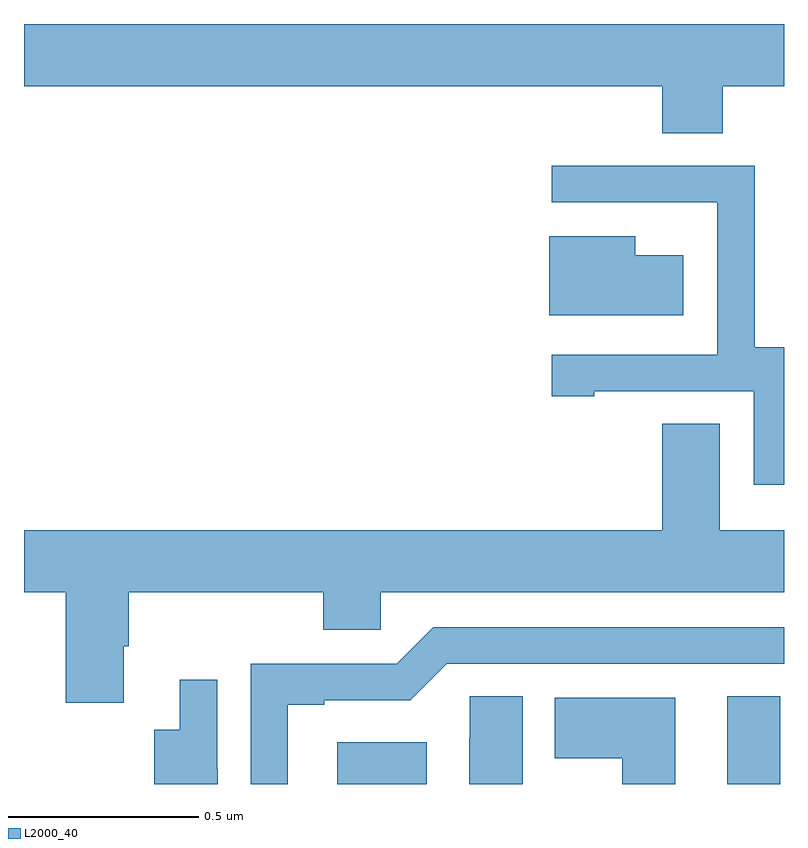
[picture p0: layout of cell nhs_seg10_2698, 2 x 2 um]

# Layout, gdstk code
import gdstk
lib = gdstk.Library(unit=1e-6, precision=1e-09)
def R(c, l, rs):  # rectangles x0, y0, x1, y1
    for r in rs: c.add(gdstk.rectangle(r[:2], r[2:], *l))
def P(c, l, *ps):  # polygons
    for p in ps: c.add(gdstk.Polygon(p, *l))
L2000_40 = (2000, 40)

nhs_seg10_2698 = lib.new_cell('nhs_seg10_2698')
R(nhs_seg10_2698, L2000_40, [(144.824,1278.5,145.06,1278.61), (145.85,1278.5,145.99,1278.731)])
P(nhs_seg10_2698, L2000_40, [(145.839,1280.336),(146,1280.336),(146,1280.5),(144,1280.5),(144,1280.336),(145.679,1280.336),(145.679,1280.212),(145.839,1280.212)],
  [(146,1279.649),(145.923,1279.649),(145.923,1280.127),(145.389,1280.127),(145.389,1280.031),(145.823,1280.031),(145.823,1280.03),(145.824,1280.03),(145.824,1279.629),(145.389,1279.629),(145.389,1279.521),(145.501,1279.521),(145.501,1279.533),(145.92,1279.533),(145.92,1279.287),(146,1279.287)],
  [(145.735,1279.891),(145.609,1279.891),(145.609,1279.942),(145.382,1279.942),(145.382,1279.733),(145.735,1279.733)],
  [(144.262,1278.862),(144.275,1278.862),(144.275,1279.004),(144.788,1279.004),(144.788,1278.906),(144.939,1278.906),(144.939,1279.004),(146,1279.004),(146,1279.168),(145.831,1279.168),(145.831,1279.448),(145.679,1279.448),(145.679,1279.168),(144,1279.168),(144,1279.004),(144.11,1279.004),(144.11,1278.714),(144.262,1278.714)],
  [(144.694,1278.708),(144.79,1278.708),(144.79,1278.72),(145.017,1278.72),(145.113,1278.816),(146,1278.816),(146,1278.912),(145.077,1278.912),(144.981,1278.816),(144.597,1278.816),(144.597,1278.5),(144.694,1278.5)],
  [(144.51,1278.539),(144.508,1278.539),(144.508,1278.775),(144.41,1278.775),(144.41,1278.643),(144.343,1278.643),(144.343,1278.5),(144.51,1278.5)],
  [(145.312,1278.731),(145.173,1278.731),(145.173,1278.62),(145.172,1278.62),(145.172,1278.5),(145.312,1278.5)],
  [(145.714,1278.727),(145.397,1278.727),(145.397,1278.568),(145.574,1278.568),(145.574,1278.5),(145.714,1278.5)])

lib.write_gds('nhs_seg10_2698.gds')
